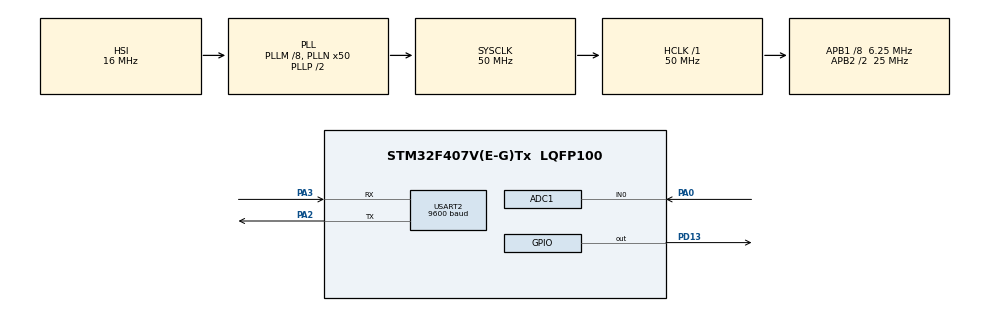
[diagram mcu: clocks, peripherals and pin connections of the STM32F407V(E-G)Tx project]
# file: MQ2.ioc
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ADC1.Channel-0\#ChannelRegularConversion=ADC_CHANNEL_0
ADC1.NbrOfConversionFlag=1
ADC1.Rank-0\#ChannelRegularConversion=1
ADC1.SamplingTime-0\#ChannelRegularConversion=ADC_SAMPLETIME_3CYCLES
ADC1.master=1
Mcu.Family=STM32F4
Mcu.Name=STM32F407V(E-G)Tx
Mcu.Package=LQFP100
NVIC.PriorityGroup=NVIC_PRIORITYGROUP_0
PA0-WKUP.Signal=ADCx_IN0
PA2.Mode=Asynchronous
PA2.Signal=USART2_TX
PA3.Mode=Asynchronous
PA3.Signal=USART2_RX
PD13.Signal=GPIO_Output
ProjectManager.HeapSize=0x200
ProjectManager.StackSize=0x400
ProjectManager.TargetToolchain=STM32CubeIDE
RCC.48MHZClocksFreq_Value=14285714.285714285
RCC.AHBFreq_Value=50000000
RCC.APB1CLKDivider=RCC_HCLK_DIV8
RCC.APB1Freq_Value=6250000
RCC.APB1TimFreq_Value=12500000
RCC.APB2CLKDivider=RCC_HCLK_DIV2
RCC.APB2Freq_Value=25000000
RCC.APB2TimFreq_Value=50000000
RCC.CortexFreq_Value=50000000
RCC.HCLKFreq_Value=50000000
RCC.HSE_VALUE=8000000
RCC.HSI_VALUE=16000000
RCC.PLLM=8
RCC.PLLN=50
RCC.PLLQ=7
RCC.SYSCLKFreq_VALUE=50000000
RCC.SYSCLKSource=RCC_SYSCLKSOURCE_PLLCLK
RCC.VCOOutputFreq_Value=100000000
SH.ADCx_IN0.0=ADC1_IN0,IN0
USART2.BaudRate=9600
USART2.VirtualMode=VM_ASYNC
board=STM32F407G-DISC1

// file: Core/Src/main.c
/* USER CODE BEGIN Header */
/**
  ******************************************************************************
  * @file           : main.c
  * @brief          : Main program body
  ******************************************************************************
  * @attention
  *
  * Copyright (c) 2025 STMicroelectronics.
  * All rights reserved.
  *
  * This software is licensed under terms that can be found in the LICENSE file
  * in the root directory of this software component.
  * If no LICENSE file comes with this software, it is provided AS-IS.
  *
  ******************************************************************************
  */
/* USER CODE END Header */
#include "main.h"

/* USER CODE BEGIN Includes */
#include <string.h>
/* USER CODE END Includes */

ADC_HandleTypeDef hadc1;

UART_HandleTypeDef huart2;

void SystemClock_Config(void);
static void MX_GPIO_Init(void);
static void MX_ADC1_Init(void);
static void MX_USART2_UART_Init(void);

int main(void)
{

  /* MCU Configuration--------------------------------------------------------*/

  /* Reset of all peripherals, Initializes the Flash interface and the Systick. */
  HAL_Init();

  /* Configure the system clock */
  SystemClock_Config();

  /* Initialize all configured peripherals */
  MX_GPIO_Init();
  MX_ADC1_Init();
  MX_USART2_UART_Init();
  /* USER CODE BEGIN 2 */
  char str1[20];
  char str2[20];
  uint16_t val;
  /* USER CODE END 2 */

  /* Infinite loop */
  while (1)
  {

    /* USER CODE BEGIN 3 */
	  HAL_ADC_Start(&hadc1);
	  HAL_ADC_PollForConversion(&hadc1, HAL_MAX_DELAY);
	  val = HAL_ADC_GetValue(&hadc1);
	 	  HAL_ADC_Stop(&hadc1);

	 	  sprintf(str1, "MQ2 Gas Value: %d\r\n", val);
	 	  HAL_UART_Transmit(&huart2, (uint8_t*)str1, strlen(str1), HAL_MAX_DELAY);

	 	  if(val >= 1500)
	 	  {
	 		 sprintf(str1, "MQ2 Gas Value: %d\r\n", val);
	 	      HAL_UART_Transmit(&huart2, (uint8_t*)str2, strlen(str2), HAL_MAX_DELAY);

	 	      HAL_GPIO_WritePin(GPIOD, GPIO_PIN_13, GPIO_PIN_SET);
	 	      HAL_Delay(1000);
	 	      HAL_GPIO_WritePin(GPIOD, GPIO_PIN_13, GPIO_PIN_RESET);
	 	  }

	 	  HAL_Delay(1000);
  }
  /* USER CODE END 3 */
}

void SystemClock_Config(void)
{
  RCC_OscInitTypeDef RCC_OscInitStruct = {0};
  RCC_ClkInitTypeDef RCC_ClkInitStruct = {0};

  /** Configure the main internal regulator output voltage
  */
  __HAL_RCC_PWR_CLK_ENABLE();
  __HAL_PWR_VOLTAGESCALING_CONFIG(PWR_REGULATOR_VOLTAGE_SCALE1);

  /** Initializes the RCC Oscillators according to the specified parameters
  * in the RCC_OscInitTypeDef structure.
  */
  RCC_OscInitStruct.OscillatorType = RCC_OSCILLATORTYPE_HSI;
  RCC_OscInitStruct.HSIState = RCC_HSI_ON;
  RCC_OscInitStruct.HSICalibrationValue = RCC_HSICALIBRATION_DEFAULT;
  RCC_OscInitStruct.PLL.PLLState = RCC_PLL_ON;
  RCC_OscInitStruct.PLL.PLLSource = RCC_PLLSOURCE_HSI;
  RCC_OscInitStruct.PLL.PLLM = 8;
  RCC_OscInitStruct.PLL.PLLN = 50;
  RCC_OscInitStruct.PLL.PLLP = RCC_PLLP_DIV2;
  RCC_OscInitStruct.PLL.PLLQ = 7;
  if (HAL_RCC_OscConfig(&RCC_OscInitStruct) != HAL_OK)
  {
    Error_Handler();
  }

  /** Initializes the CPU, AHB and APB buses clocks
  */
  RCC_ClkInitStruct.ClockType = RCC_CLOCKTYPE_HCLK|RCC_CLOCKTYPE_SYSCLK
                              |RCC_CLOCKTYPE_PCLK1|RCC_CLOCKTYPE_PCLK2;
  RCC_ClkInitStruct.SYSCLKSource = RCC_SYSCLKSOURCE_PLLCLK;
  RCC_ClkInitStruct.AHBCLKDivider = RCC_SYSCLK_DIV1;
  RCC_ClkInitStruct.APB1CLKDivider = RCC_HCLK_DIV8;
  RCC_ClkInitStruct.APB2CLKDivider = RCC_HCLK_DIV2;

  if (HAL_RCC_ClockConfig(&RCC_ClkInitStruct, FLASH_LATENCY_1) != HAL_OK)
  {
    Error_Handler();
  }
}

static void MX_ADC1_Init(void)
{

  ADC_ChannelConfTypeDef sConfig = {0};

  /** Configure the global features of the ADC (Clock, Resolution, Data Alignment and number of conversion)
  */
  hadc1.Instance = ADC1;
  hadc1.Init.ClockPrescaler = ADC_CLOCK_SYNC_PCLK_DIV2;
  hadc1.Init.Resolution = ADC_RESOLUTION_12B;
  hadc1.Init.ScanConvMode = DISABLE;
  hadc1.Init.ContinuousConvMode = DISABLE;
  hadc1.Init.DiscontinuousConvMode = DISABLE;
  hadc1.Init.ExternalTrigConvEdge = ADC_EXTERNALTRIGCONVEDGE_NONE;
  hadc1.Init.ExternalTrigConv = ADC_SOFTWARE_START;
  hadc1.Init.DataAlign = ADC_DATAALIGN_RIGHT;
  hadc1.Init.NbrOfConversion = 1;
  hadc1.Init.DMAContinuousRequests = DISABLE;
  hadc1.Init.EOCSelection = ADC_EOC_SINGLE_CONV;
  if (HAL_ADC_Init(&hadc1) != HAL_OK)
  {
    Error_Handler();
  }

  /** Configure for the selected ADC regular channel its corresponding rank in the sequencer and its sample time.
  */
  sConfig.Channel = ADC_CHANNEL_0;
  sConfig.Rank = 1;
  sConfig.SamplingTime = ADC_SAMPLETIME_3CYCLES;
  if (HAL_ADC_ConfigChannel(&hadc1, &sConfig) != HAL_OK)
  {
    Error_Handler();
  }

}

static void MX_USART2_UART_Init(void)
{

  huart2.Instance = USART2;
  huart2.Init.BaudRate = 9600;
  huart2.Init.WordLength = UART_WORDLENGTH_8B;
  huart2.Init.StopBits = UART_STOPBITS_1;
  huart2.Init.Parity = UART_PARITY_NONE;
  huart2.Init.Mode = UART_MODE_TX_RX;
  huart2.Init.HwFlowCtl = UART_HWCONTROL_NONE;
  huart2.Init.OverSampling = UART_OVERSAMPLING_16;
  if (HAL_UART_Init(&huart2) != HAL_OK)
  {
    Error_Handler();
  }

}

static void MX_GPIO_Init(void)
{
  GPIO_InitTypeDef GPIO_InitStruct = {0};

  /* GPIO Ports Clock Enable */
  __HAL_RCC_GPIOA_CLK_ENABLE();
  __HAL_RCC_GPIOD_CLK_ENABLE();

  /*Configure GPIO pin Output Level */
  HAL_GPIO_WritePin(GPIOD, GPIO_PIN_13, GPIO_PIN_RESET);

  /*Configure GPIO pin : PD13 */
  GPIO_InitStruct.Pin = GPIO_PIN_13;
  GPIO_InitStruct.Mode = GPIO_MODE_OUTPUT_PP;
  GPIO_InitStruct.Pull = GPIO_NOPULL;
  GPIO_InitStruct.Speed = GPIO_SPEED_FREQ_LOW;
  HAL_GPIO_Init(GPIOD, &GPIO_InitStruct);

}

void Error_Handler(void)
{
  __disable_irq();
  while (1)
  {
  }
}
